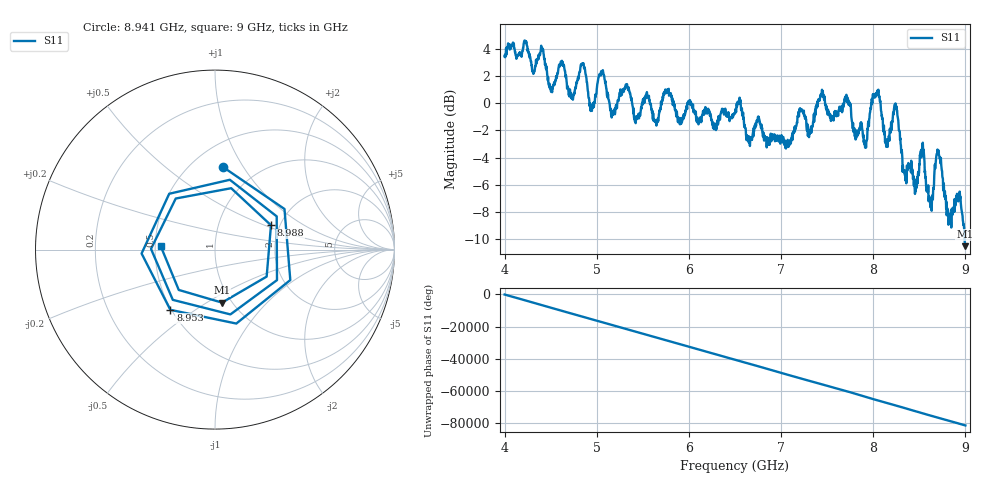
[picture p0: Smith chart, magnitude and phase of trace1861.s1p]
! Created with skrf 1.8.0 (http://scikit-rf.org).
# Hz S RI R 50.0
!freq ReS11 ImS11
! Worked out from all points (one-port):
!   1601 points, 4 GHz to 9 GHz, reference 50 ohm
!   lowest |S11| = -10.5 dB at 8.994 GHz (marker M1), VSWR 1.85, Z = 45.1 - j29.2 ohm
!   |S11| at or under -10 dB: 8.991926 GHz to end of sweep
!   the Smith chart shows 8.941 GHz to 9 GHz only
!   S11 on the Smith chart (normalised r, x): 8.941 GHz: 0.70, +0.82; 8.953 GHz: 0.49, -0.40; 8.988 GHz: 1.80, +0.55; 9 GHz: 0.53, +0.02
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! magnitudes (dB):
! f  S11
! 4 GHz  3.4
! 4.506 GHz  1.0
! 4.625 GHz  2.8
! 4.722 GHz  0.4
! 4.85 GHz  2.9
! 4.944 GHz  -0.5
! 5.05 GHz  2.2
! 5.172 GHz  -0.8
! 5.25 GHz  0.8
! 5.875 GHz  -1.0
! 6.5 GHz  -0.8
! 7.125 GHz  -2.2
! 7.438 GHz  0.5
! 7.75 GHz  0.0
! 7.909 GHz  -3.0
! 8.031 GHz  0.6
! 8.15 GHz  -2.7
! 8.241 GHz  0.0
! 8.375 GHz  -4.6
! 8.531 GHz  -3.4
! 8.625 GHz  -7.0
! 8.709 GHz  -3.5
! 8.822 GHz  -8.6
! 8.941 GHz  -6.7
! 8.953 GHz  -7.6
! 8.988 GHz  -9.4
! 8.994 GHz  -10.5
! 9 GHz  -10.4
